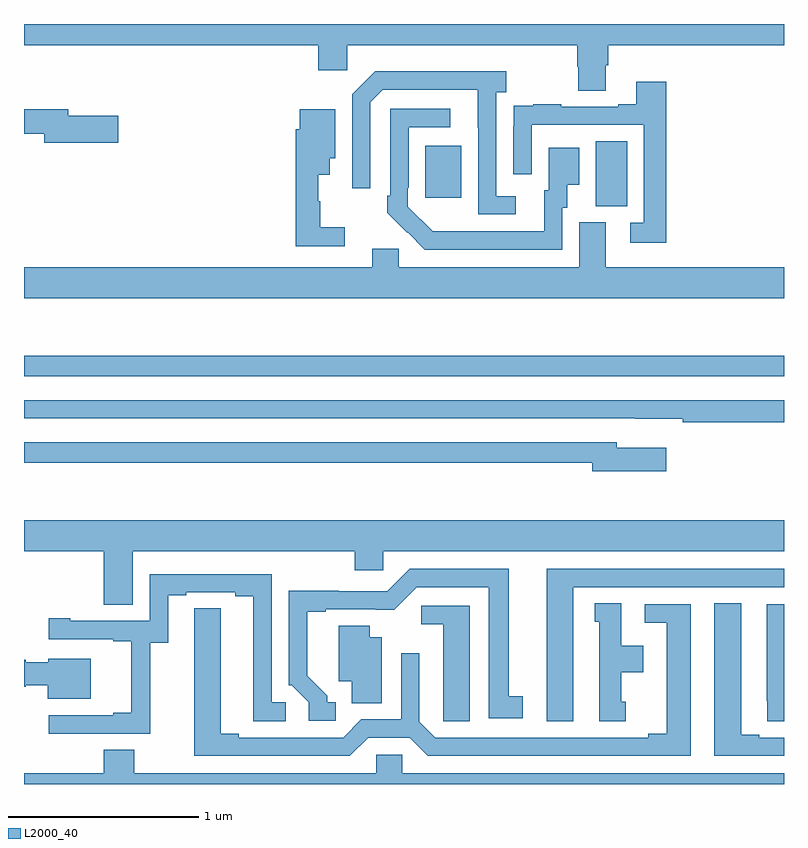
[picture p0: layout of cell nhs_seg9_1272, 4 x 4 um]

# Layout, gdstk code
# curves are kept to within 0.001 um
import gdstk
lib = gdstk.Library(unit=1e-6, precision=1e-09)
def R(c, l, rs):  # rectangles x0, y0, x1, y1
    for r in rs: c.add(gdstk.rectangle(r[:2], r[2:], *l))
def P(c, l, *ps):  # polygons
    for p in ps: c.add(gdstk.Polygon(p, *l))
L2000_40 = (2000, 40)

nhs_seg9_1272 = lib.new_cell('nhs_seg9_1272')
R(nhs_seg9_1272, L2000_40, [(181,1226.646,185,1226.755), (184.01,1227.541,184.174,1227.884), (183.113,1227.585,183.301,1227.859)])
P(nhs_seg9_1272, L2000_40, [(184.063,1228.282),(184.076,1228.282),(184.076,1228.388),(185,1228.388),(185,1228.5),(181,1228.5),(181,1228.388),(182.549,1228.388),(182.549,1228.257),(182.7,1228.257),(182.7,1228.388),(183.911,1228.388),(183.911,1228.275),(183.916,1228.275),(183.916,1228.15),(184.063,1228.15)],
  [(183.589,1227.594),(183.486,1227.594),(183.486,1228.142),(183.538,1228.142),(183.538,1228.252),(182.848,1228.252),(182.727,1228.131),(182.727,1227.636),(182.823,1227.636),(182.823,1228.089),(182.889,1228.155),(183.389,1228.155),(183.39,1227.498),(183.589,1227.498)],
  [(184.379,1228.195),(184.223,1228.195),(184.223,1228.078),(184.127,1228.078),(184.127,1228.065),(183.827,1228.065),(183.827,1228.078),(183.679,1228.078),(183.679,1228.071),(183.577,1228.071),(183.577,1227.962),(183.576,1227.962),(183.576,1227.708),(183.672,1227.708),(183.672,1227.969),(184.263,1227.969),(184.263,1227.453),(184.191,1227.453),(184.191,1227.348),(184.379,1227.348)],
  [(183.834,1227.534),(183.859,1227.534),(183.859,1227.653),(183.922,1227.653),(183.922,1227.85),(183.761,1227.85),(183.761,1227.624),(183.737,1227.624),(183.737,1227.408),(183.15,1227.409),(183.021,1227.537),(183.021,1227.637),(183.024,1227.637),(183.024,1227.957),(183.244,1227.957),(183.244,1228.053),(182.928,1228.053),(182.928,1227.595),(182.913,1227.595),(182.913,1227.507),(183.11,1227.312),(183.834,1227.312)],
  [(181.495,1228.017),(181.234,1228.017),(181.234,1228.051),(181,1228.051),(181,1227.922),(181.106,1227.922),(181.106,1227.875),(181.495,1227.875)],
  [(182.689,1227.431),(182.56,1227.431),(182.56,1227.567),(182.549,1227.567),(182.549,1227.707),(182.608,1227.707),(182.608,1227.794),(182.638,1227.794),(182.638,1228.051),(182.45,1228.051),(182.45,1227.947),(182.431,1227.947),(182.431,1227.33),(182.689,1227.33)],
  [(185,1227.22),(184.063,1227.22),(184.063,1227.456),(183.923,1227.456),(183.923,1227.22),(182.973,1227.22),(182.973,1227.318),(182.834,1227.318),(182.834,1227.22),(181,1227.22),(181,1227.056),(185,1227.056)],
  [(185,1226.52),(181,1226.52),(181,1226.424),(184.216,1226.424),(184.216,1226.423),(184.468,1226.423),(184.468,1226.404),(185,1226.404)],
  [(184.381,1226.269),(184.12,1226.269),(184.12,1226.298),(181,1226.298),(181,1226.19),(183.992,1226.19),(183.992,1226.147),(184.381,1226.147)],
  [(181.573,1225.724),(182.741,1225.724),(182.741,1225.626),(182.892,1225.626),(182.892,1225.724),(185,1225.724),(185,1225.888),(181,1225.888),(181,1225.724),(181.421,1225.724),(181.421,1225.444),(181.573,1225.444)],
  [(183.892,1225.536),(185,1225.536),(185,1225.632),(183.752,1225.632),(183.752,1224.831),(183.892,1224.831)],
  [(182.641,1224.93),(182.596,1224.93),(182.596,1224.965),(182.491,1225.07),(182.491,1225.407),(182.587,1225.407),(182.587,1225.419),(182.948,1225.418),(183.066,1225.536),(183.446,1225.536),(183.446,1224.846),(183.625,1224.846),(183.625,1224.962),(183.55,1224.962),(183.55,1225.632),(183.03,1225.632),(182.913,1225.515),(182.657,1225.515),(182.657,1225.517),(182.394,1225.517),(182.394,1225.02),(182.409,1225.02),(182.499,1224.93),(182.499,1224.834),(182.641,1224.834)],
  [(181.665,1225.243),(181.759,1225.243),(181.759,1225.494),(181.855,1225.494),(181.855,1225.509),(182.111,1225.509),(182.111,1225.489),(182.207,1225.489),(182.207,1224.829),(182.377,1224.829),(182.377,1224.93),(182.304,1224.93),(182.304,1225.605),(181.662,1225.605),(181.662,1225.359),(181.243,1225.359),(181.243,1225.372),(181.131,1225.372),(181.131,1225.263),(181.469,1225.263),(181.469,1225.251),(181.565,1225.251),(181.565,1224.874),(181.469,1224.874),(181.469,1224.861),(181.131,1224.861),(181.131,1224.765),(181.665,1224.765)],
  [(184.168,1224.933),(184.144,1224.933),(184.144,1225.088),(184.258,1225.088),(184.258,1225.228),(184.144,1225.228),(184.144,1225.451),(184.004,1225.451),(184.004,1225.353),(184.028,1225.353),(184.028,1224.831),(184.168,1224.831)],
  [(185,1224.744),(184.87,1224.744),(184.87,1224.759),(184.774,1224.759),(184.774,1225.451),(184.634,1225.451),(184.634,1224.648),(185,1224.648)],
  [(185,1225.447),(184.91,1225.447),(184.91,1224.937),(184.911,1224.937),(184.911,1224.829),(185,1224.829)],
  [(182.811,1224.744),(183.029,1224.744),(183.125,1224.648),(184.51,1224.648),(184.51,1225.446),(184.266,1225.446),(184.266,1225.35),(184.382,1225.35),(184.382,1224.764),(184.286,1224.764),(184.286,1224.744),(183.165,1224.744),(183.081,1224.828),(183.081,1225.189),(182.985,1225.189),(182.985,1224.84),(182.775,1224.84),(182.679,1224.744),(182.131,1224.744),(182.131,1224.764),(182.035,1224.764),(182.035,1225.424),(181.896,1225.424),(181.895,1224.648),(182.715,1224.648)],
  [(183.346,1225.437),(183.09,1225.437),(183.09,1225.34),(183.206,1225.34),(183.206,1224.937),(183.207,1224.937),(183.207,1224.829),(183.346,1224.829)],
  [(182.884,1225.273),(182.821,1225.273),(182.821,1225.334),(182.657,1225.334),(182.657,1225.04),(182.726,1225.04),(182.726,1224.925),(182.884,1224.925)],
  [(181.351,1225.159),(181.128,1225.159),(181.128,1225.141),(181.008,1225.141),(181.008,1225.154),(181,1225.154),(181,1225.012),(181.008,1225.012),(181.008,1225.019),(181.124,1225.019),(181.124,1224.95),(181.351,1224.95)],
  [(181.581,1224.68),(181.421,1224.68),(181.421,1224.556),(181,1224.556),(181,1224.5),(185,1224.5),(185,1224.556),(182.991,1224.556),(182.991,1224.654),(182.853,1224.654),(182.853,1224.556),(181.581,1224.556)])

lib.write_gds('nhs_seg9_1272.gds')
